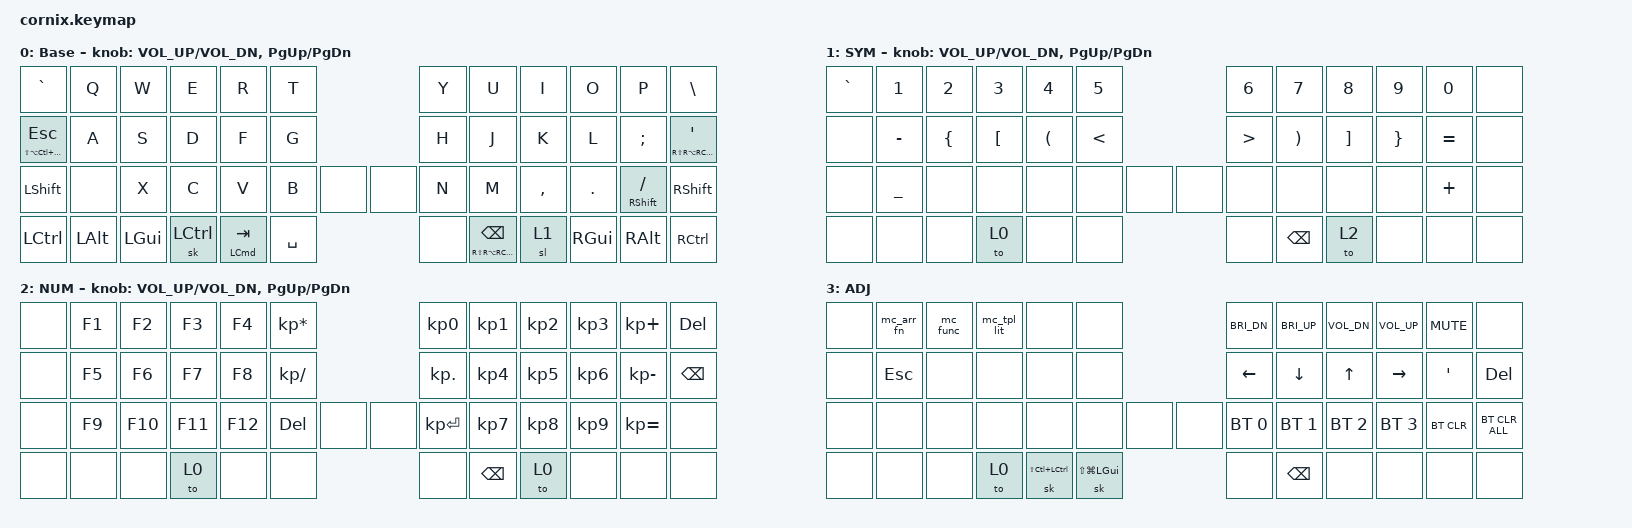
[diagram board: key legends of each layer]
/*
 * Copyright (c) 2020 The ZMK Contributors
 *
 * SPDX-License-Identifier: MIT
 */

#include "zmk-helpers/helper.h"
#include "includes/cornix54.h"

// tap windows for ctl alt and gui

#define HM_TAPPING_TERM 250
#define HM_TAPPING_REPEAT 210

// quick tapping for shift

#define HM_TAPPING_TERM_FAST 200
#define HM_PRIOR_IDLE 70
#define BASE 0
#define WIN 1
#define LOWER 2
#define RAISE 3
#define ADJUST 4
#define NAVI   5
#define NUM    6
#define DEBUG  7

// https://github.com/urob/zmk-config/tree/main#timeless-homerow-mods

#define KEYS_L LT0 LT1 LT2 LT3 LT4 LT5 LM0 LM1 LM2 LM3 LM4 LM5 LB0 LB1 LB2 LB3 LB4 LB5  // left hand
#define KEYS_R RT0 RT1 RT2 RT3 RT4 RT5 RM0 RM1 RM2 RM3 RM4 RM5 RB0 RB1 RB2 RB3 RB4 RB5  // right hand
#define THUMBS LH1 LH0 RH0 RH1
#define KEYS_T LH1 LH0 RH0 RH1
#define ZMK_POINTING_DEFAULT_SCRL_VAL 15

#include <behaviors.dtsi>
#include <dt-bindings/zmk/bt.h>
#include <dt-bindings/zmk/keys.h>

&mt {
    tapping-term-ms = <170>;
    quick-tap-ms = <100>;
    flavor = "tap-preferred";
};

/ {
    // Activate ADJUST layer by pressing raise and lower

    behaviors {
        // Positional Homerow mods for shift
        // Use faster tapping term and disable some features that may
        // cause false negatives.
        /*
         * Non-Positional Homerow Mods
         * Used for &mm_grescm_gui behavior on left hand.
         *
         * Usage: &hm LSHFT T
         * Tap: T
         * Tap-Tap-Hold: Repeat T
         * Hold: LSHIFT
         */
    };

    conditional_layers { compatible = "zmk,conditional-layers"; };

    combos {
        compatible = "zmk,combos";

        DF {
            bindings = <&sk LEFT_GUI>;
            key-positions = <16 15>;
        };

        JK {
            bindings = <&sk RIGHT_GUI>;
            key-positions = <19 20>;
        };

        SD {
            bindings = <&sk LEFT_ALT>;
            key-positions = <15 14>;
        };

        KL {
            bindings = <&sk RIGHT_ALT>;
            key-positions = <20 21>;
        };

        SA {
            bindings = <&sk LEFT_CONTROL>;
            key-positions = <13 14>;
        };

        L_SEMI {
            bindings = <&sk RIGHT_CONTROL>;
            key-positions = <22 21>;
        };

        LEFT_HYPER {
            bindings = <&sk LS(LA(LC(LG(LEFT_GUI))))>;
            key-positions = <16 15 14>;
        };

        RIGHT_HYPER {
            bindings = <&sk RG(RC(RA(RS(RIGHT_GUI))))>;
            key-positions = <19 20 21>;
        };

        CV {
            bindings = <&sk LEFT_SHIFT>;
            key-positions = <28 27>;
        };

        M_COMMA {
            bindings = <&sk RIGHT_SHIFT>;
            key-positions = <33 34>;
        };

        QW {
            bindings = <&kp GRAVE>;
            key-positions = <1 2>;
        };

        OP {
            bindings = <&kp BACKSLASH>;
            key-positions = <9 10>;
        };

        caps {
            bindings = <&kp CAPSLOCK>;
            key-positions = <13 22>;
        };
    };

    macros {
        mc_arr_fn: arr_fn {
            compatible = "zmk,behavior-macro";
            #binding-cells = <0>;
            bindings = <&none &kp LPAR &kp RPAR &kp SPACE &kp EQUAL &kp GT &kp SPACE &kp LBRC &kp RBRC>;
            label = "ARR_FN";
        };

        mc_func: mc_func {
            compatible = "zmk,behavior-macro";
            #binding-cells = <0>;
            bindings = <&none &kp F &kp U &kp N &kp C &kp T &kp I &kp O &kp N &kp SPACE &kp LPAR &kp RPAR &kp SPACE &kp LBRC &kp RBRC>;
            label = "MC_FUNC";
        };

        mc_tpl_lit: mc_tpl_lit {
            compatible = "zmk,behavior-macro";
            #binding-cells = <0>;
            bindings = <&none &kp DLLR &kp LBRC &kp RBRC>;
            label = "MC_TPL_LIT";
        };
    };

    keymap {
        compatible = "zmk,keymap";

        default_layer {
            display-name = "Base";

            // ------------------------------------------------------------------------------------------------------------
            // |   `   |  1  |  2  |  3   |  4   |  5   |                   |  6   |  7    |  8    |  9   |   0   |       |
            // |  ESC  |  Q  |  W  |  E   |  R   |  T   |                   |  Y   |  U    |  I    |  O   |   P   | BKSPC |
            // |  TAB  |  A  |  S  |  D   |  F   |  G   |                   |  H   |  J    |  K    |  L   |   ;   |   '   |
            // | SHIFT |  Z  |  X  |  C   |  V   |  B   |  MUTE  |  |       |  N   |  M    |  ,    |  .   |   /   | SHIFT |
            //               | GUI | ALT  | CTRL | LOWER|  ENTER |  | SPACE | RAISE| CTRL  | ALT   | GUI  |

            bindings = <
&kp GRAVE                         &kp Q         &kp W         &kp E             &kp R                 &kp T                    &kp Y  &kp U                                        &kp I      &kp O          &kp P                  &kp BSLH
&mt LS(LA(LC(LG(LEFT_GUI)))) ESC  &kp A         &kp S         &kp D             &kp F                 &kp G                    &kp H  &kp J                                        &kp K      &kp L          &kp SEMI               &mt RS(RA(RC(RG(RIGHT_GUI)))) SQT
&kp LEFT_SHIFT                    &none         &kp X         &kp C             &kp V                 &kp B      &none  &none  &kp N  &kp M                                        &kp COMMA  &kp DOT        &mt RIGHT_SHIFT SLASH  &kp RIGHT_SHIFT
&kp LEFT_CONTROL                  &kp LEFT_ALT  &kp LEFT_GUI  &sk LEFT_CONTROL  &mt LEFT_COMMAND TAB  &kp SPACE                &none  &mt RS(RA(RC(RG(RIGHT_COMMAND)))) BACKSPACE  &sl 1      &kp RIGHT_GUI  &kp RIGHT_ALT          &kp RIGHT_CONTROL
            >;

            sensor-bindings = <&inc_dec_kp C_VOL_UP C_VOL_DN &inc_dec_kp PG_UP PG_DN>;
        };

        Symbos {
            display-name = "SYM";

            // ------------------------------------------------------------------------------------------------------------
            // |   `   |  1  |  2  |  3   |  4   |  5   |                   |  6   |  7    |  8    |  9   |   0   |       |
            // |  ESC  |  Q  |  W  |  E   |  R   |  T   |                   |  Y   |  U    |  I    |  O   |   P   | BKSPC |
            // |  TAB  |  A  |  S  |  D   |  F   |  G   |                   |  H   |  J    |  K    |  L   |   ;   |   '   |
            // | SHIFT |  Z  |  X  |  C   |  V   |  B   |  MUTE  |  |       |  N   |  M    |  ,    |  .   |   /   | SHIFT |
            //               | GUI | ALT  | CTRL | LOWER|  ENTER |  | SPACE | RAISE| CTRL  | ALT   | GUI  |

            bindings = <
&kp GRAVE  &kp NUMBER_1    &kp N2          &kp N3    &kp N4                &kp N5                       &kp N6            &kp N7                 &kp N8    &kp N9           &kp N0     &none
&none      &kp MINUS       &kp LEFT_BRACE  &kp LBKT  &kp LEFT_PARENTHESIS  &kp LESS_THAN                &kp GREATER_THAN  &kp RIGHT_PARENTHESIS  &kp RBKT  &kp RIGHT_BRACE  &kp EQUAL  &none
&none      &kp UNDERSCORE  &none           &none     &none                 &none          &none  &none  &none             &none                  &none     &none            &kp PLUS   &none
&none      &none           &none           &to 0     &none                 &none                        &none             &kp BSPC               &to 2     &none            &none      &none
            >;

            sensor-bindings = <&inc_dec_kp C_VOL_UP C_VOL_DN &inc_dec_kp PG_UP PG_DN>;
        };

        Numpad {
            display-name = "NUM";

            // TODO: Some binds are waiting for shifted keycode support.
            // -------------------------------
            // |       |  F1 |  F2 |  F3  |  F4  |  F5  |                   |  F6  |  F7   |  F8   |  F9  |  F10  |  F11  |
            // |   `   |  1  |  2  |  3   |  4   |  5   |                   |  6   |  7    |  8    |  9   |   0   |  F12  |
            // |       |  !  |  @  |  #   |  $   |  %   |                   |  ^   |  &    |  *    |  (   |   )   |   |   |
            // |       |  =  |  -  |  +   |  {   |  }   |        |  |       |  [   |  ]    |  ;    |  :   |   \   |       |
            //               |     |      |      |      |        |  |       |      |       |       |      |

            bindings = <
&none  &kp F1  &kp F2   &kp F3   &kp F4   &kp KP_MULTIPLY                &kp KP_N0     &kp KP_N1      &kp KP_N2  &kp KP_N3  &kp KP_PLUS   &kp DEL
&none  &kp F5  &kp F6   &kp F7   &kp F8   &kp KP_SLASH                   &kp KP_DOT    &kp KP_N4      &kp KP_N5  &kp KP_N6  &kp KP_MINUS  &kp BACKSPACE
&none  &kp F9  &kp F10  &kp F11  &kp F12  &kp DEL          &none  &none  &kp KP_ENTER  &kp KP_N7      &kp KP_N8  &kp KP_N9  &kp KP_EQUAL  &none
&none  &none   &none    &to 0    &none    &none                          &none         &kp BACKSPACE  &to 0      &none      &none         &none
            >;

            sensor-bindings = <&inc_dec_kp C_VOL_UP C_VOL_DN &inc_dec_kp PG_UP PG_DN>;
        };

        Adjust {
            display-name = "ADJ";
            bindings = <
&none  &mc_arr_fn  &mc_func  &mc_tpl_lit  &none                     &none                               &kp C_BRI_DN  &kp C_BRI_UP   &kp C_VOL_DN  &kp C_VOL_UP  &kp C_MUTE  &none
&none  &kp ESC     &none     &none        &none                     &none                               &kp LEFT      &kp DOWN       &kp UP        &kp RIGHT     &kp SQT     &kp DEL
&none  &none       &none     &none        &none                     &none                 &none  &none  &bt BT_SEL 0  &bt BT_SEL 1   &bt BT_SEL 2  &bt BT_SEL 3  &bt BT_CLR  &bt BT_CLR_ALL
&none  &none       &none     &to 0        &sk LS(LC(LEFT_CONTROL))  &sk LS(LG(LEFT_GUI))                &none         &kp BACKSPACE  &none         &none         &none       &none
            >;
        };
    };
};
